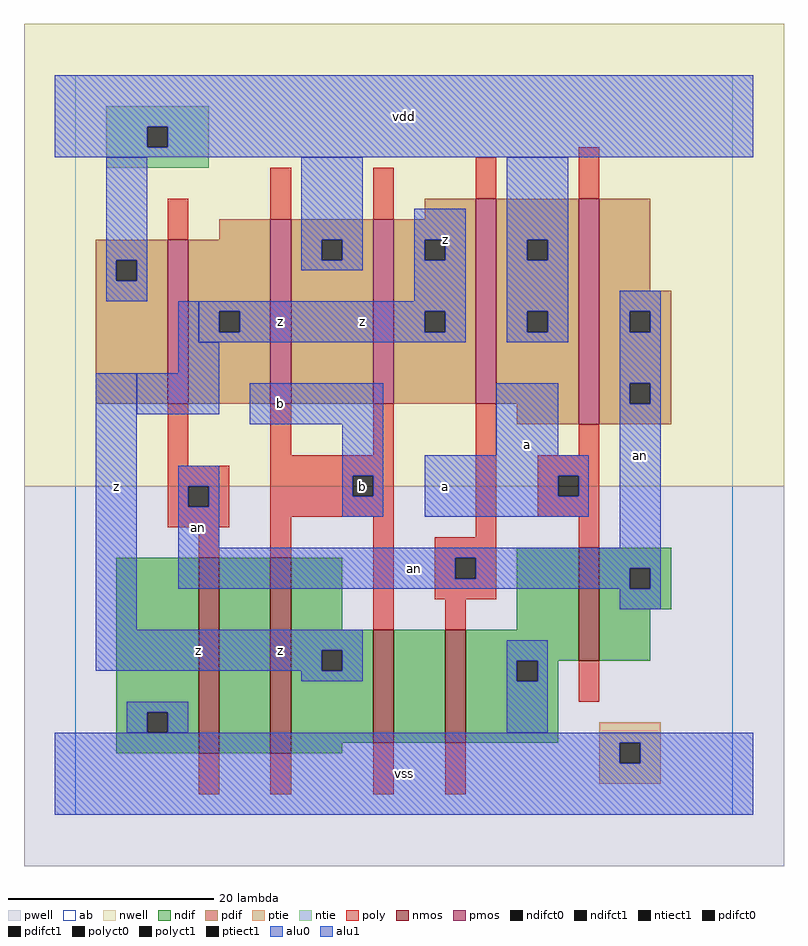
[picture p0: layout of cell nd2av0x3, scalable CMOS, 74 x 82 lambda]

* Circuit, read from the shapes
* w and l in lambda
.subckt nd2av0x3 a an b vdd vss z
M1 n1 an vss vss nfet w=19 l=2
M2 z b n1 vss nfet w=19 l=2
M3 n2 b z vss nfet w=11 l=2
M4 vss an n2 vss nfet w=11 l=2
M5 an a vss vss nfet w=11 l=2
M6 z an vdd vdd pfet w=16 l=2
M7 vdd b z vdd pfet w=18 l=2 m=2
M8 vdd an z vdd pfet w=20 l=2
M9 an a vdd vdd pfet w=22 l=2
.ends

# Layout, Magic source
magic
tech scmos
<< ab >>
rect 0 0 64 72
<< nwell >>
rect -5 32 69 77
<< pwell >>
rect -5 -5 69 32
<< poly >>
rect 9 56 11 60
rect 19 58 21 63
rect 29 58 31 63
rect 39 60 41 64
rect 49 60 51 65
rect 9 34 11 40
rect 19 35 21 40
rect 29 35 31 40
rect 9 32 15 34
rect 9 30 11 32
rect 13 30 15 32
rect 9 28 15 30
rect 19 33 31 35
rect 19 31 27 33
rect 29 31 31 33
rect 19 29 31 31
rect 12 25 14 28
rect 19 25 21 29
rect 29 18 31 29
rect 39 27 41 40
rect 49 35 51 38
rect 45 33 51 35
rect 45 31 47 33
rect 49 31 51 33
rect 45 29 51 31
rect 35 25 41 27
rect 49 26 51 29
rect 35 23 37 25
rect 39 23 41 25
rect 35 21 41 23
rect 36 18 38 21
rect 49 11 51 15
rect 12 2 14 6
rect 19 2 21 6
rect 29 2 31 7
rect 36 2 38 7
<< ndif >>
rect 4 10 12 25
rect 4 8 7 10
rect 9 8 12 10
rect 4 6 12 8
rect 14 6 19 25
rect 21 18 26 25
rect 43 18 49 26
rect 21 16 29 18
rect 21 14 24 16
rect 26 14 29 16
rect 21 7 29 14
rect 31 7 36 18
rect 38 15 49 18
rect 51 24 58 26
rect 51 22 54 24
rect 56 22 58 24
rect 51 20 58 22
rect 51 15 56 20
rect 38 13 43 15
rect 45 13 47 15
rect 38 7 47 13
rect 21 6 26 7
<< pdif >>
rect 34 58 39 60
rect 14 56 19 58
rect 2 54 9 56
rect 2 52 4 54
rect 6 52 9 54
rect 2 40 9 52
rect 11 49 19 56
rect 11 47 14 49
rect 16 47 19 49
rect 11 40 19 47
rect 21 56 29 58
rect 21 54 24 56
rect 26 54 29 56
rect 21 40 29 54
rect 31 56 39 58
rect 31 54 34 56
rect 36 54 39 56
rect 31 49 39 54
rect 31 47 34 49
rect 36 47 39 49
rect 31 40 39 47
rect 41 56 49 60
rect 41 54 44 56
rect 46 54 49 56
rect 41 49 49 54
rect 41 47 44 49
rect 46 47 49 49
rect 41 40 49 47
rect 43 38 49 40
rect 51 51 56 60
rect 51 49 58 51
rect 51 47 54 49
rect 56 47 58 49
rect 51 42 58 47
rect 51 40 54 42
rect 56 40 58 42
rect 51 38 58 40
<< alu1 >>
rect -2 67 66 72
rect -2 65 7 67
rect 9 65 66 67
rect -2 64 66 65
rect 33 56 38 59
rect 33 54 34 56
rect 36 54 38 56
rect 33 50 38 54
rect 12 49 38 50
rect 12 47 14 49
rect 16 47 34 49
rect 36 47 38 49
rect 12 46 38 47
rect 2 18 6 43
rect 17 38 30 42
rect 26 33 30 38
rect 41 35 47 42
rect 26 31 27 33
rect 29 31 30 33
rect 26 29 30 31
rect 34 33 50 35
rect 34 31 47 33
rect 49 31 50 33
rect 34 29 50 31
rect 2 16 28 18
rect 2 14 24 16
rect 26 14 28 16
rect 22 13 28 14
rect -2 7 66 8
rect -2 5 53 7
rect 55 5 66 7
rect -2 0 66 5
<< ptie >>
rect 51 7 57 9
rect 51 5 53 7
rect 55 5 57 7
rect 51 3 57 5
<< ntie >>
rect 3 67 13 69
rect 3 65 7 67
rect 9 65 13 67
rect 3 63 13 65
<< nmos >>
rect 12 6 14 25
rect 19 6 21 25
rect 29 7 31 18
rect 36 7 38 18
rect 49 15 51 26
<< pmos >>
rect 9 40 11 56
rect 19 40 21 58
rect 29 40 31 58
rect 39 40 41 60
rect 49 38 51 60
<< polyct0 >>
rect 11 30 13 32
rect 37 23 39 25
<< polyct1 >>
rect 27 31 29 33
rect 47 31 49 33
<< ndifct0 >>
rect 7 8 9 10
rect 54 22 56 24
rect 43 13 45 15
<< ndifct1 >>
rect 24 14 26 16
<< ntiect1 >>
rect 7 65 9 67
<< ptiect1 >>
rect 53 5 55 7
<< pdifct0 >>
rect 4 52 6 54
rect 24 54 26 56
rect 44 54 46 56
rect 44 47 46 49
rect 54 47 56 49
rect 54 40 56 42
<< pdifct1 >>
rect 14 47 16 49
rect 34 54 36 56
rect 34 47 36 49
<< alu0 >>
rect 3 54 7 64
rect 3 52 4 54
rect 6 52 7 54
rect 22 56 28 64
rect 22 54 24 56
rect 26 54 28 56
rect 22 53 28 54
rect 3 50 7 52
rect 10 46 12 50
rect 42 56 48 64
rect 42 54 44 56
rect 46 54 48 56
rect 42 49 48 54
rect 42 47 44 49
rect 46 47 48 49
rect 42 46 48 47
rect 53 49 57 51
rect 53 47 54 49
rect 56 47 57 49
rect 10 43 14 46
rect 6 39 14 43
rect 53 42 57 47
rect 10 32 14 34
rect 10 30 11 32
rect 13 30 14 32
rect 10 26 14 30
rect 53 40 54 42
rect 56 40 57 42
rect 53 26 57 40
rect 10 25 57 26
rect 10 23 37 25
rect 39 24 57 25
rect 39 23 54 24
rect 10 22 54 23
rect 56 22 57 24
rect 53 20 57 22
rect 42 15 46 17
rect 42 13 43 15
rect 45 13 46 15
rect 5 10 11 11
rect 5 8 7 10
rect 9 8 11 10
rect 42 8 46 13
<< labels >>
rlabel alu0 12 28 12 28 6 an
rlabel alu0 33 24 33 24 6 an
rlabel alu0 55 35 55 35 6 an
rlabel alu1 12 16 12 16 6 z
rlabel alu1 4 32 4 32 6 z
rlabel alu1 20 16 20 16 6 z
rlabel polyct1 28 32 28 32 6 b
rlabel alu1 20 40 20 40 6 b
rlabel alu1 20 48 20 48 6 z
rlabel alu1 28 48 28 48 6 z
rlabel alu1 32 4 32 4 6 vss
rlabel alu1 36 32 36 32 6 a
rlabel alu1 44 36 44 36 6 a
rlabel alu1 36 56 36 56 6 z
rlabel alu1 32 68 32 68 6 vdd
<< end >>
